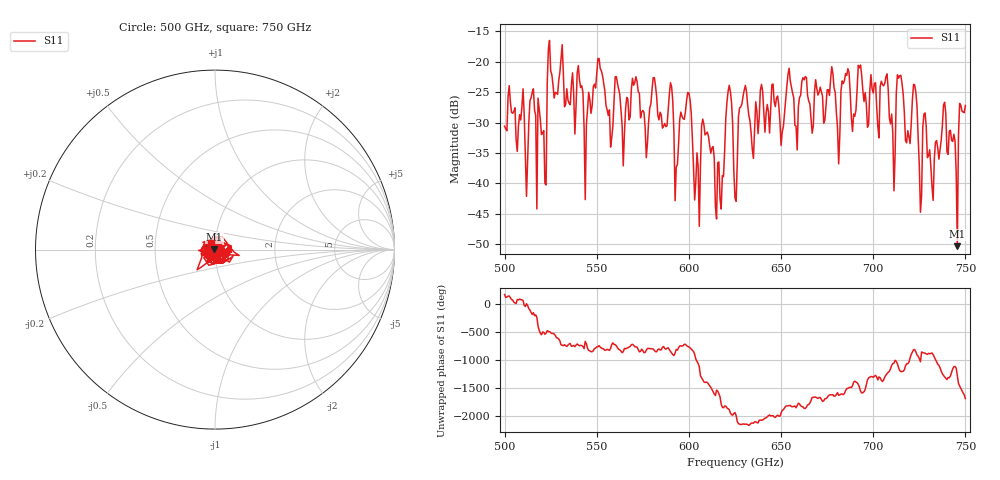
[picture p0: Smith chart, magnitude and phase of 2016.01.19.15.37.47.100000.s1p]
!Created with skrf (http://scikit-rf.org).
# GHz S RI R 50.0
!freq ReS11 ImS11
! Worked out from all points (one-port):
!   401 points, 500 GHz to 750 GHz, reference 50 ohm
!   lowest |S11| = -50.3 dB at 745.6 GHz (marker M1), VSWR 1.01, Z = 49.7 + j0.0596 ohm
!   |S11| at or under -10 dB: start of sweep to end of sweep
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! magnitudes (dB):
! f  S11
! 500 GHz  -30.6
! 511.9 GHz  -42.1
! 515 GHz  -25.0
! 521.2 GHz  -31.3
! 524.4 GHz  -16.5
! 531.2 GHz  -17.2
! 543.8 GHz  -42.7
! 551.2 GHz  -19.4
! 562.5 GHz  -25.4
! 590 GHz  -23.4
! 593.8 GHz  -36.9
! 600 GHz  -25.1
! 604.4 GHz  -35.0
! 608.1 GHz  -30.3
! 616.2 GHz  -36.5
! 621.9 GHz  -23.9
! 625 GHz  -42.4
! 630 GHz  -24.7
! 656.2 GHz  -25.1
! 687.5 GHz  -25.1
! 706.9 GHz  -22.5
! 710.6 GHz  -31.8
! 714.4 GHz  -22.3
! 718.8 GHz  -31.3
! 722.5 GHz  -23.8
! 725.6 GHz  -44.8
! 745.6 GHz  -50.3
! 750 GHz  -27.2
